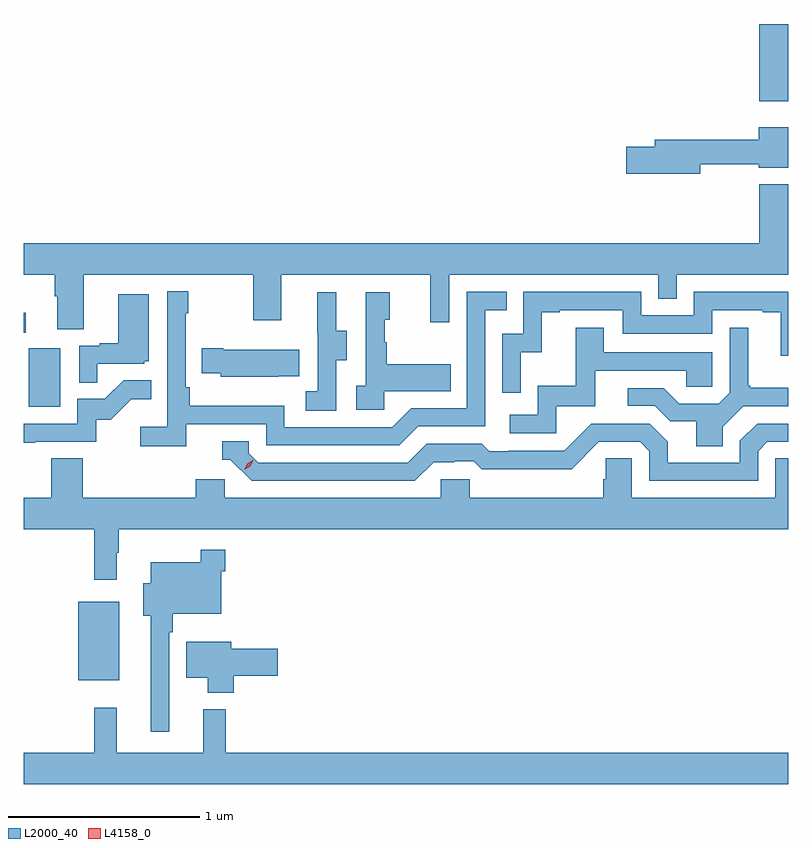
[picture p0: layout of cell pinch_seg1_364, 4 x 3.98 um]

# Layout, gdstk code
import gdstk
lib = gdstk.Library(unit=1e-6, precision=1e-09)
def R(c, l, rs):  # rectangles x0, y0, x1, y1
    for r in rs: c.add(gdstk.rectangle(r[:2], r[2:], *l))
def P(c, l, *ps):  # polygons
    for p in ps: c.add(gdstk.Polygon(p, *l))
L2000_40 = (2000, 40)
L4158_0 = (4158, 0)

pinch_seg1_364 = lib.new_cell('pinch_seg1_364')
R(pinch_seg1_364, L2000_40, [(970.106,526.967,970.321,527.377), (969.848,528.396,970.012,528.703), (969.82,528.783,969.832,528.889)])
P(pinch_seg1_364, L2000_40, [(973.819,530.216),(973.82,530.216),(973.82,530.399),(973.667,530.399),(973.667,529.995),(973.819,529.995)],
  [(973.36,529.665),(973.664,529.665),(973.664,529.646),(973.82,529.646),(973.82,529.858),(973.664,529.858),(973.664,529.793),(973.121,529.793),(973.121,529.757),(972.972,529.757),(972.972,529.615),(973.36,529.615)],
  [(970.135,529.088),(971.02,529.088),(971.02,528.849),(971.167,528.849),(971.167,529.088),(971.948,529.088),(971.948,528.84),(972.045,528.84),(972.045,529.088),(973.14,529.088),(973.14,528.961),(973.236,528.961),(973.236,529.088),(973.82,529.088),(973.82,529.348),(973.819,529.348),(973.819,529.561),(973.667,529.561),(973.667,529.252),(969.82,529.252),(969.82,529.088),(969.983,529.088),(969.983,528.976),(969.995,528.976),(969.995,528.802),(970.135,528.802)],
  [(970.67,528.306),(971.088,528.306),(971.088,528.195),(971.785,528.195),(971.884,528.294),(972.234,528.294),(972.234,528.903),(972.347,528.903),(972.347,528.999),(972.138,528.999),(972.138,528.39),(971.847,528.39),(971.748,528.291),(971.184,528.291),(971.184,528.403),(970.688,528.403),(970.688,528.499),(970.668,528.499),(970.668,528.887),(970.681,528.887),(970.681,529),(970.572,529),(970.572,528.292),(970.431,528.292),(970.431,528.19),(970.67,528.19)],
  [(972.42,528.683),(972.53,528.683),(972.53,528.891),(972.625,528.891),(972.625,528.903),(972.954,528.903),(972.954,528.78),(973.422,528.78),(973.422,528.903),(973.685,528.903),(973.685,528.891),(973.781,528.891),(973.781,528.665),(973.82,528.665),(973.82,528.999),(973.326,528.999),(973.326,528.876),(973.05,528.876),(973.05,528.999),(972.432,528.999),(972.432,528.78),(972.324,528.78),(972.324,528.471),(972.42,528.471)],
  [(971.706,528.479),(972.053,528.479),(972.053,528.619),(971.719,528.619),(971.719,528.734),(971.709,528.734),(971.709,528.852),(971.734,528.852),(971.734,528.997),(971.61,528.997),(971.61,528.506),(971.559,528.506),(971.559,528.381),(971.706,528.381)],
  [(971.454,528.64),(971.509,528.64),(971.509,528.795),(971.455,528.795),(971.455,528.997),(971.357,528.997),(971.357,528.783),(971.358,528.783),(971.358,528.479),(971.295,528.479),(971.295,528.376),(971.454,528.376)],
  [(970.205,528.621),(970.452,528.621),(970.452,528.636),(970.474,528.636),(970.474,528.985),(970.316,528.985),(970.316,528.73),(970.217,528.73),(970.217,528.717),(970.11,528.717),(970.11,528.523),(970.205,528.523)],
  [(973.477,528.292),(973.584,528.399),(973.82,528.399),(973.82,528.496),(973.621,528.496),(973.621,528.508),(973.609,528.508),(973.609,528.811),(973.512,528.811),(973.512,528.471),(973.455,528.414),(973.249,528.414),(973.168,528.495),(972.981,528.495),(972.981,528.402),(973.122,528.402),(973.202,528.322),(973.337,528.322),(973.337,528.19),(973.477,528.19)],
  [(972.606,528.399),(972.811,528.399),(972.811,528.585),(973.285,528.585),(973.285,528.501),(973.422,528.501),(973.422,528.681),(972.853,528.681),(972.853,528.811),(972.709,528.811),(972.709,528.508),(972.51,528.508),(972.51,528.354),(972.363,528.354),(972.363,528.258),(972.606,528.258)],
  [(971.153,528.557),(971.261,528.557),(971.261,528.694),(970.864,528.694),(970.864,528.702),(970.753,528.702),(970.753,528.572),(970.851,528.572),(970.851,528.554),(971.153,528.554)],
  [(969.881,528.213),(970.2,528.213),(970.2,528.33),(970.276,528.33),(970.383,528.437),(970.487,528.437),(970.487,528.536),(970.343,528.536),(970.245,528.438),(970.101,528.438),(970.101,528.309),(969.82,528.309),(969.82,528.208),(969.881,528.208)],
  [(971.965,528.108),(972.072,528.108),(972.072,528.111),(972.175,528.111),(972.217,528.069),(972.45,528.069),(972.45,528.071),(972.686,528.071),(972.828,528.213),(973.044,528.213),(973.092,528.165),(973.092,528.009),(973.662,528.009),(973.662,528.165),(973.71,528.213),(973.82,528.213),(973.82,528.309),(973.656,528.309),(973.566,528.219),(973.566,528.105),(973.189,528.105),(973.189,528.215),(973.095,528.309),(972.789,528.309),(972.648,528.168),(972.355,528.168),(972.355,528.165),(972.256,528.165),(972.217,528.204),(971.928,528.204),(971.829,528.105),(971.046,528.105),(970.998,528.153),(970.998,528.216),(970.859,528.216),(970.859,528.12),(970.902,528.12),(971.013,528.009),(971.866,528.009)],
  [(970.306,527.633),(970.318,527.633),(970.318,527.756),(973.82,527.756),(973.82,528.128),(973.752,528.128),(973.752,527.92),(973.002,527.92),(973.002,528.128),(972.865,528.128),(972.865,528.018),(972.851,528.018),(972.851,527.92),(972.153,527.92),(972.153,528.018),(972.003,528.018),(972.003,527.92),(970.872,527.92),(970.872,528.018),(970.721,528.018),(970.721,527.92),(970.13,527.92),(970.13,528.128),(969.965,528.128),(969.965,527.92),(969.82,527.92),(969.82,527.756),(970.189,527.756),(970.189,527.493),(970.306,527.493)],
  [(970.581,527.219),(970.601,527.219),(970.601,527.315),(970.854,527.315),(970.854,527.537),(970.874,527.537),(970.874,527.65),(970.746,527.65),(970.746,527.584),(970.484,527.584),(970.484,527.473),(970.445,527.473),(970.445,527.303),(970.484,527.303),(970.484,526.698),(970.581,526.698)],
  [(970.919,526.99),(971.149,526.99),(971.149,527.132),(970.906,527.132),(970.906,527.167),(970.67,527.167),(970.67,526.979),(970.784,526.979),(970.784,526.901),(970.919,526.901)],
  [(973.82,526.588),(970.877,526.588),(970.877,526.816),(970.76,526.816),(970.76,526.588),(970.307,526.588),(970.307,526.822),(970.189,526.822),(970.189,526.588),(969.82,526.588),(969.82,526.424),(973.82,526.424)])
P(pinch_seg1_364, L4158_0, [(970.975,528.067),(970.975,528.067),(970.991,528.1),(971.021,528.12),(971.021,528.12),(971.021,528.119),(971.006,528.087),(970.975,528.067)])

lib.write_gds('pinch_seg1_364.gds')
